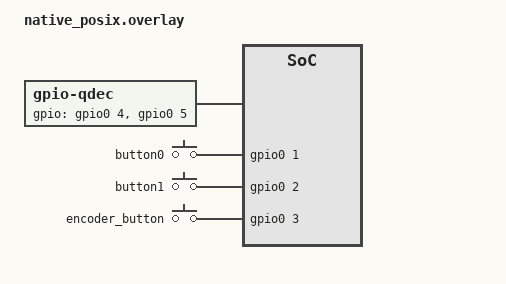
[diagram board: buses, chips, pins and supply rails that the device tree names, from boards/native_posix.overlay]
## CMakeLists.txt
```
# SPDX-License-Identifier: Apache-2.0

cmake_minimum_required(VERSION 3.20.0)

find_package(Zephyr REQUIRED HINTS $ENV{ZEPHYR_BASE})
project(lvgl_sample)

FILE(GLOB app_sources src/*.c)
target_sources(app PRIVATE ${app_sources})
```

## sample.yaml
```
sample:
  description: LVGL sample application
  name: lvgl
tests:
  sample.display.lvgl.gui:
    filter: dt_chosen_enabled("zephyr,display")
    # flash usage varies depending on the platform, but ~200K are the bare
    # minimum, give some room by adding 50K more. RAM usage depends largerly on
    # the display buffer, but a minimum is also required for the system itself.
    # ~25K seem to be sufficient for most cases, rounded to 32K.
    min_flash: 250
    min_ram: 32
    harness: none
    tags:
      - samples
      - display
      - gui
      - lvgl
    modules:
      - lvgl
    integration_platforms:
      - native_sim_64
  sample.display.lvgl.rk055hdmipi4m:
    # This sample is intended to test the RT1170 and RT595, which require
    # a display shield to work with LVGL
    min_flash: 250
    # The minimum RAM needed for this display is actually around 8MB,
    # but the RT595 uses external PSRAM for the display buffer
    min_ram: 32
    harness: none
    tags:
      - samples
      - display
      - gui
    modules:
      - lvgl
    extra_args: SHIELD="rk055hdmipi4m"
    platform_allow:
      - mimxrt1170_evk_cm7
      - mimxrt595_evk_cm33
    integration_platforms:
      - mimxrt1170_evk_cm7
```

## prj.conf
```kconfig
CONFIG_LV_Z_MEM_POOL_SIZE=16384
CONFIG_LV_Z_SHELL=y
CONFIG_MAIN_STACK_SIZE=2048

CONFIG_DISPLAY=y
CONFIG_DISPLAY_LOG_LEVEL_ERR=y

CONFIG_LOG=y
CONFIG_SHELL=y

CONFIG_LVGL=y
CONFIG_LV_MEM_CUSTOM=y
CONFIG_LV_USE_LOG=y
CONFIG_LV_USE_LABEL=y
CONFIG_LV_USE_BTN=y
CONFIG_LV_USE_ARC=y
CONFIG_LV_USE_IMG=y
CONFIG_LV_USE_MONKEY=y
CONFIG_LV_FONT_MONTSERRAT_14=y
```

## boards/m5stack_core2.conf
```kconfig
# SPDX-License-Identifier: Apache-2.0

CONFIG_MAIN_STACK_SIZE=4096
```

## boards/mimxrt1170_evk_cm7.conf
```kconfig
# Copyright 2023 NXP
# SPDX-License-Identifier: Apache-2.0

# Enable PXP DMA engine and set rotation angle to 0 degrees.
# This allows us to verify the DMA driver functions without altering
# the output image
CONFIG_DMA=y
CONFIG_MCUX_ELCDIF_PXP=y
```

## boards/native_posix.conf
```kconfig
CONFIG_LV_COLOR_DEPTH_32=y
CONFIG_GPIO=y
CONFIG_INPUT=y
```

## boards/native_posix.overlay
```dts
/*
 * Copyright (c) 2022, Basalte bv
 *
 * SPDX-License-Identifier: Apache-2.0
 */

#include <zephyr/dt-bindings/input/input-event-codes.h>

/ {
	aliases {
		sw0 = &button0;
	};

	qdec {
		compatible = "gpio-qdec";
		gpios = <&gpio0 4 GPIO_ACTIVE_HIGH>, <&gpio0 5 GPIO_ACTIVE_HIGH>;
		steps-per-period = <4>;
		zephyr,axis = <INPUT_REL_WHEEL>;
		sample-time-us = <2000>;
		idle-timeout-ms = <200>;
	};

	keys: keys {
		compatible = "gpio-keys";
		button0: button0 {
			/* gpio0 pin 0 is already aliased to led0 */
			gpios = <&gpio0 1 GPIO_ACTIVE_HIGH>;
			zephyr,code = <INPUT_KEY_0>;
		};

		button1: button1 {
			gpios = <&gpio0 2 GPIO_ACTIVE_HIGH>;
			zephyr,code = <INPUT_KEY_1>;
		};

		encoder_button: encoder_button {
			gpios = <&gpio0 3 GPIO_ACTIVE_HIGH>;
			zephyr,code = <INPUT_KEY_ENTER>;
		};
	};

	lvgl_button_input {
		compatible = "zephyr,lvgl-button-input";
		input = <&keys>;
		input-codes = <INPUT_KEY_1>;
		coordinates = <160 120>;
	};

	lvgl_encoder_input {
		compatible = "zephyr,lvgl-encoder-input";
		rotation-input-code = <INPUT_REL_WHEEL>;
		button-input-code = <INPUT_KEY_ENTER>;
	};
};

&gpio0 {
	ngpios = <6>;

	sdl_gpio {
		status = "okay";
		compatible = "zephyr,gpio-emul-sdl";
		/* Skip pin 0 with the unknown code 0 */
		scancodes = <0 21 5 30 31 32>;
	};
};
```

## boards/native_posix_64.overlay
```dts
/*
 * Copyright (c) 2022, Basalte bv
 *
 * SPDX-License-Identifier: Apache-2.0
 */
#include "native_posix.overlay"
```

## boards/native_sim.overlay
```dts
/*
 * Copyright (c) 2023, Nordic Semiconductor ASA
 *
 * SPDX-License-Identifier: Apache-2.0
 */
#include "native_posix.overlay"
```

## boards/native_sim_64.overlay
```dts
/*
 * Copyright (c) 2023, Nordic Semiconductor ASA
 *
 * SPDX-License-Identifier: Apache-2.0
 */
#include "native_sim.overlay"
```

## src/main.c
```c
/*
 * Copyright (c) 2018 Jan Van Winkel <jan.van_winkel@dxplore.eu>
 *
 * SPDX-License-Identifier: Apache-2.0
 */

#include <zephyr/device.h>
#include <zephyr/devicetree.h>
#include <zephyr/drivers/display.h>
#include <zephyr/drivers/gpio.h>
#include <lvgl.h>
#include <stdio.h>
#include <string.h>
#include <zephyr/kernel.h>
#include <lvgl_input_device.h>

#define LOG_LEVEL CONFIG_LOG_DEFAULT_LEVEL
#include <zephyr/logging/log.h>
LOG_MODULE_REGISTER(app);

static uint32_t count;

#ifdef CONFIG_GPIO
static struct gpio_dt_spec button_gpio = GPIO_DT_SPEC_GET_OR(DT_ALIAS(sw0), gpios, {0});
static struct gpio_callback button_callback;

static void button_isr_callback(const struct device *port,
				struct gpio_callback *cb,
				uint32_t pins)
{
	ARG_UNUSED(port);
	ARG_UNUSED(cb);
	ARG_UNUSED(pins);

	count = 0;
}
#endif /* CONFIG_GPIO */

#ifdef CONFIG_LV_Z_ENCODER_INPUT
static const struct device *lvgl_encoder =
	DEVICE_DT_GET(DT_COMPAT_GET_ANY_STATUS_OKAY(zephyr_lvgl_encoder_input));
#endif /* CONFIG_LV_Z_ENCODER_INPUT */

static void lv_btn_click_callback(lv_event_t *e)
{
	ARG_UNUSED(e);

	count = 0;
}

int main(void)
{
	char count_str[11] = {0};
	const struct device *display_dev;
	lv_obj_t *hello_world_label;
	lv_obj_t *count_label;

	display_dev = DEVICE_DT_GET(DT_CHOSEN(zephyr_display));
	if (!device_is_ready(display_dev)) {
		LOG_ERR("Device not ready, aborting test");
		return 0;
	}

#ifdef CONFIG_GPIO
	if (gpio_is_ready_dt(&button_gpio)) {
		int err;

		err = gpio_pin_configure_dt(&button_gpio, GPIO_INPUT);
		if (err) {
			LOG_ERR("failed to configure button gpio: %d", err);
			return 0;
		}

		gpio_init_callback(&button_callback, button_isr_callback,
				   BIT(button_gpio.pin));

		err = gpio_add_callback(button_gpio.port, &button_callback);
		if (err) {
			LOG_ERR("failed to add button callback: %d", err);
			return 0;
		}

		err = gpio_pin_interrupt_configure_dt(&button_gpio,
						      GPIO_INT_EDGE_TO_ACTIVE);
		if (err) {
			LOG_ERR("failed to enable button callback: %d", err);
			return 0;
		}
	}
#endif /* CONFIG_GPIO */

#ifdef CONFIG_LV_Z_ENCODER_INPUT
	lv_obj_t *arc;
	lv_group_t *arc_group;

	arc = lv_arc_create(lv_scr_act());
	lv_obj_align(arc, LV_ALIGN_CENTER, 0, 0);
	lv_obj_set_size(arc, 150, 150);

	arc_group = lv_group_create();
	lv_group_add_obj(arc_group, arc);
	lv_indev_set_group(lvgl_input_get_indev(lvgl_encoder), arc_group);
#endif /* CONFIG_LV_Z_ENCODER_INPUT */

	if (IS_ENABLED(CONFIG_LV_Z_POINTER_KSCAN) || IS_ENABLED(CONFIG_LV_Z_POINTER_INPUT)) {
		lv_obj_t *hello_world_button;

		hello_world_button = lv_btn_create(lv_scr_act());
		lv_obj_align(hello_world_button, LV_ALIGN_CENTER, 0, 0);
		lv_obj_add_event_cb(hello_world_button, lv_btn_click_callback, LV_EVENT_CLICKED,
						NULL);
		hello_world_label = lv_label_create(hello_world_button);
	} else {
		hello_world_label = lv_label_create(lv_scr_act());
	}

	lv_label_set_text(hello_world_label, "Hello world!");
	lv_obj_align(hello_world_label, LV_ALIGN_CENTER, 0, 0);

	count_label = lv_label_create(lv_scr_act());
	lv_obj_align(count_label, LV_ALIGN_BOTTOM_MID, 0, 0);

	lv_task_handler();
	display_blanking_off(display_dev);

	while (1) {
		if ((count % 100) == 0U) {
			sprintf(count_str, "%d", count/100U);
			lv_label_set_text(count_label, count_str);
		}
		lv_task_handler();
		++count;
		k_sleep(K_MSEC(10));
	}
}
```
